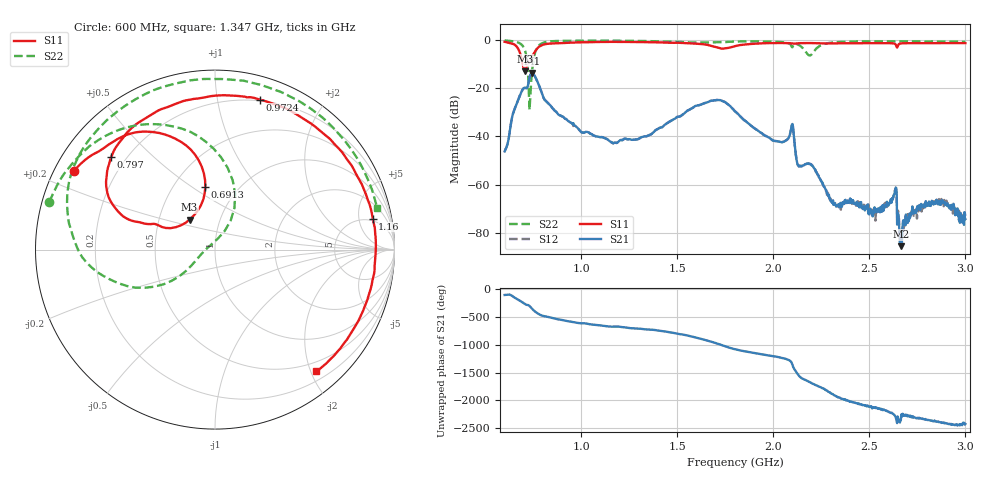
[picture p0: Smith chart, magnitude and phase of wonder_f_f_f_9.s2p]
#  HZ  S  RI  R  50.00
! Rohde & Schwarz ZVB8 2Ports - Version 2.81 - 1145.1010k08 SN: 100113
! Date: 2016-05-12 03:17:20
! Measurements: S11 S21 S12 S22
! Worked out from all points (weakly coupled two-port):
!   1000 points, 600 MHz to 3 GHz, reference 50 ohm
!   highest |S21| = -13.80 dB at 744.1 MHz (marker M1); lowest = -85.4 dB at 2.666 GHz (marker M2)
!   lowest |S11| = -13.2 dB at 705.7 MHz (marker M3), VSWR 1.56, Z = 35.8 + j12.6 ohm
!   |S11| at or under -10 dB: 693.9 MHz to 719.5 MHz (25.63 MHz wide, 3.63 % of centre)
!   |S22| runs from -29.1 to -0.4 dB; largest |S21 - S12| = 0.0033
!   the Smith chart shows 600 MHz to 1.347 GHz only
!   S11 on the Smith chart (normalised r, x): 600 MHz: 0.06, +0.26; 691.3 MHz: 0.71, +0.57; 797 MHz: 0.15, +0.37; 972.4 MHz: 0.19, +1.33; 1.16 GHz: 4.43, +7.75; 1.347 GHz: 0.34, -2.09
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6e8  -0.7861 0.4387  -0.00194 -0.00448  -0.00196 -0.00453  -0.9221 0.2658
6.912913e8  -0.0541 0.3491  -0.0416 0.0784  -0.0423 0.0777  -0.3158 0.698
7.057057e8  -0.1414 0.1675  0.0117 0.0998  0.0128 0.0996  -0.0497 0.5998
7.297297e8  -0.3459 0.1435  0.1077 0.1234  0.1055 0.1251  -0.0207 0.0282
7.441441e8  -0.4274 0.1536  0.2038 -0.0126  0.2036 -0.0125  -0.1993 -0.149
7.96997e8  -0.5789 0.5139  -0.0412 -0.0597  -0.0411 -0.06  -0.8208 0.1988
9.723724e8  0.2518 0.8348  -0.00581 0.0148  -0.00575 0.0148  -0.264 0.9135
1.001201e9  0.3896 0.7892  -0.00239 0.0118  -0.00238 0.0119  -0.1455 0.9416
1.15976e9  0.8788 0.1731  0.00566 0.00485  0.00569 0.00483  0.4837 0.8177
1.347147e9  0.5654 -0.6763  0.0101 -0.00191  0.0101 -0.00188  0.9036 0.2301
1.4e9  0.3452 -0.8045  0.0125 -0.00701  0.0125 -0.00705  0.9243 0.0218
1.678679e9  -0.6336 -0.3799  -0.0337 0.0424  -0.0338 0.0425  0.4653 -0.7411
1.801201e9  -0.7076 -0.1979  0.0325 -0.00235  0.0325 -0.00247  0.1277 -0.9026
2.072673e9  -0.451 0.7158  -0.00858 0.000968  -0.0086 0.00101  -0.655 -0.551
2.135135e9  -0.244 0.8058  -0.00144 -0.00193  -0.00136 -0.00199  -0.6782 -0.3476
2.2e9  0.0209 0.8455  -0.000799 0.00239  -0.000792 0.00244  -0.3546 -0.3525
2.324925e9  0.4849 0.6813  -0.000193 -0.000325  -0.000176 -0.000334  -0.7964 -0.3824
2.601201e9  0.7478 -0.3883  0.000286 -0.000263  0.000281 -0.000292  -0.8692 0.2982
2.63003e9  0.6518 -0.5048  -0.00015 -0.000626  -0.000186 -0.000653  -0.8476 0.3597
2.666066e9  0.6176 -0.5614  -1.25e-06 -5.34e-05  -1.89e-06 -7.15e-05  -0.8098 0.4314
2.836637e9  -0.00519 -0.8424  -0.000361 0.000195  -0.000362 0.00018  -0.551 0.7319
3e9  -0.5535 -0.6391  -3.32e-05 0.000192  -8.68e-05 0.000209  -0.1824 0.8844
